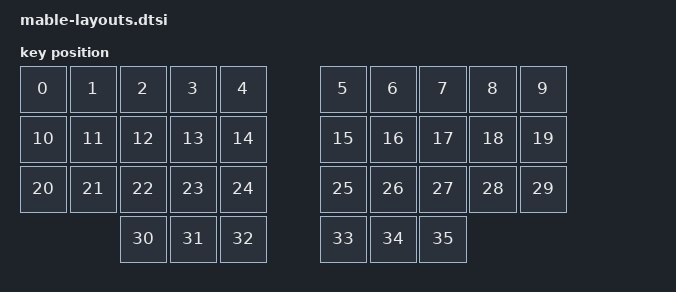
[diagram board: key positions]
#include "./position_map.dtsi"
#include <physical_layouts.dtsi>

/ {
    mable_physical_layout: mable_physical_layout {
        compatible = "zmk,physical-layout";
        display-name = "MABLE MX";
        transform = <&default_transform>;
        kscan = <&kscan0>;
        keys  //                     w   h    x    y     rot    rx    ry
            = <&key_physical_attrs 100 100    0    0       0     0     0>
            , <&key_physical_attrs 100 100  100    0       0     0     0>
            , <&key_physical_attrs 100 100  200    0       0     0     0>
            , <&key_physical_attrs 100 100  300    0       0     0     0>
            , <&key_physical_attrs 100 100  400    0       0     0     0>
            , <&key_physical_attrs 100 100  600    0       0     0     0>
            , <&key_physical_attrs 100 100  700    0       0     0     0>
            , <&key_physical_attrs 100 100  800    0       0     0     0>
            , <&key_physical_attrs 100 100  900    0       0     0     0>
            , <&key_physical_attrs 100 100 1000    0       0     0     0>
            , <&key_physical_attrs 100 100    0  100       0     0     0>
            , <&key_physical_attrs 100 100  100  100       0     0     0>
            , <&key_physical_attrs 100 100  200  100       0     0     0>
            , <&key_physical_attrs 100 100  300  100       0     0     0>
            , <&key_physical_attrs 100 100  400  100       0     0     0>
            , <&key_physical_attrs 100 100  600  100       0     0     0>
            , <&key_physical_attrs 100 100  700  100       0     0     0>
            , <&key_physical_attrs 100 100  800  100       0     0     0>
            , <&key_physical_attrs 100 100  900  100       0     0     0>
            , <&key_physical_attrs 100 100 1000  100       0     0     0>
            , <&key_physical_attrs 100 100    0  200       0     0     0>
            , <&key_physical_attrs 100 100  100  200       0     0     0>
            , <&key_physical_attrs 100 100  200  200       0     0     0>
            , <&key_physical_attrs 100 100  300  200       0     0     0>
            , <&key_physical_attrs 100 100  400  200       0     0     0>
            , <&key_physical_attrs 100 100  600  200       0     0     0>
            , <&key_physical_attrs 100 100  700  200       0     0     0>
            , <&key_physical_attrs 100 100  800  200       0     0     0>
            , <&key_physical_attrs 100 100  900  200       0     0     0>
            , <&key_physical_attrs 100 100 1000  200       0     0     0>
            , <&key_physical_attrs 100 100  200  300       0     0     0>
            , <&key_physical_attrs 100 100  300  300       0     0     0>
            , <&key_physical_attrs 100 100  400  300       0     0     0>
            , <&key_physical_attrs 100 100  600  300       0     0     0>
            , <&key_physical_attrs 100 100  700  300       0     0     0>
            , <&key_physical_attrs 100 100  800  300       0     0     0>
            ;
    };
};

&layouts_mable_position_map {
    layout_mable_map: layout_mable {
        physical-layout = <&mable_physical_layout>;
        positions
            = < 0  1  2  3  4  5  6  7  8  9>
            , <10 11 12 13 14 15 16 17 18 19>
            , <20 21 22 23 24 25 26 27 28 29>
            , <      30 31 32 33 34 35      >
            ;
    };
};
